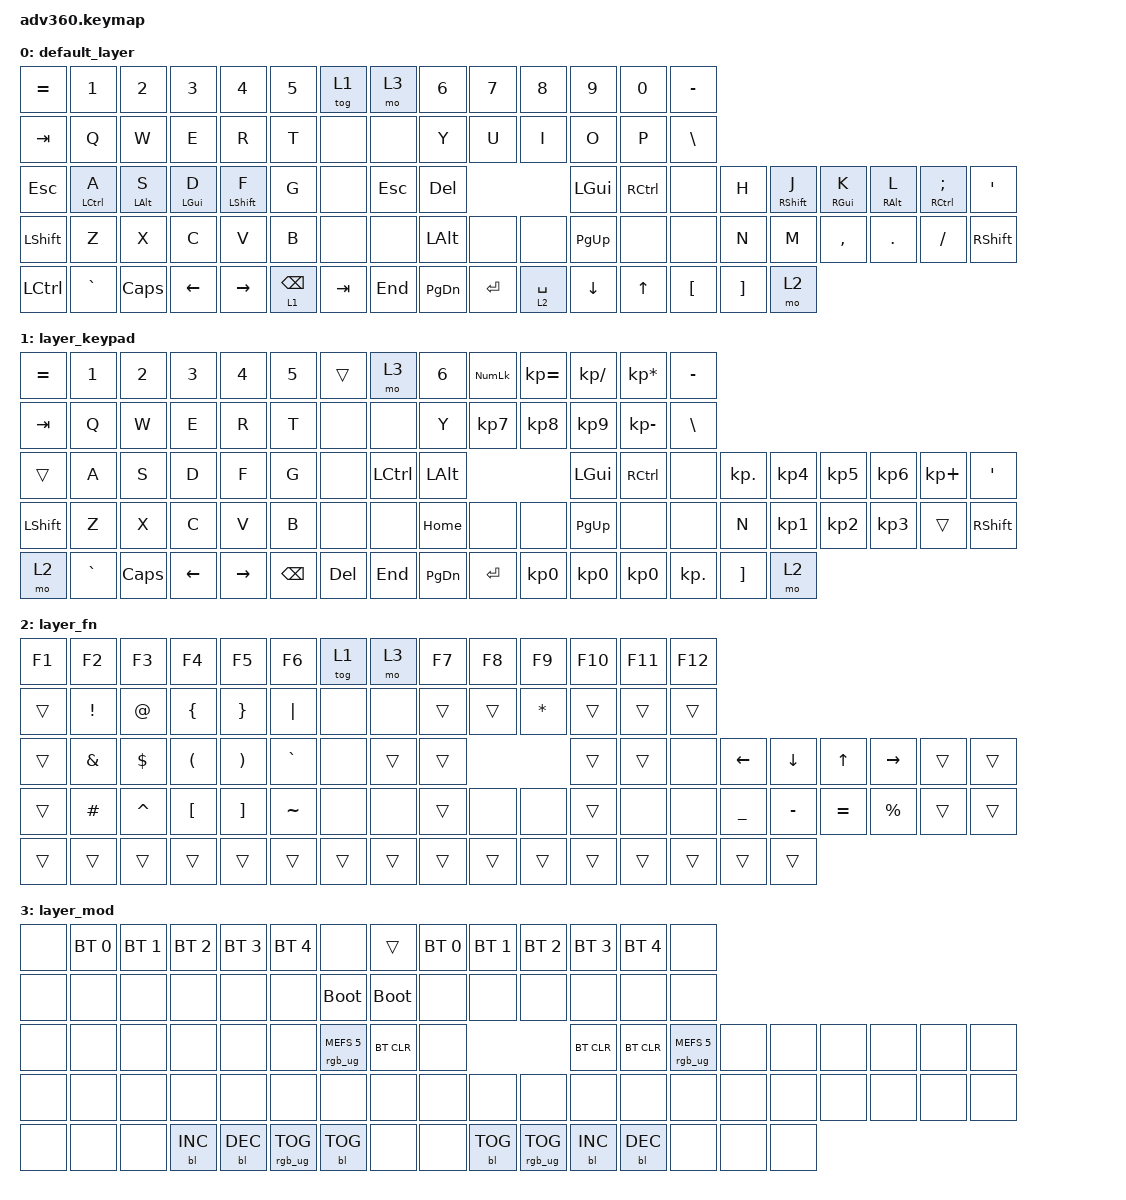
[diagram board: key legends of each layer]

/*
 * Copyright (c) 2020 The ZMK Contributors
 *
 * SPDX-License-Identifier: MIT
 */


/* THIS FILE WAS GENERATED!
 *
 * This file was generated automatically. You may or may not want to
 * edit it directly.
 */

#include <behaviors.dtsi>
#include <dt-bindings/zmk/keys.h>
#include <dt-bindings/zmk/bt.h>
#include <dt-bindings/zmk/rgb.h>
#include <dt-bindings/zmk/backlight.h>

&lt {
    quick_tap_ms = <200>;
};

&mt {
    quick_tap_ms = <200>;
    flavor = "tap-preferred";
};

/ {
  behaviors {
    #include "macros.dtsi"

    hm: homerow_mods {
        compatible = "zmk,behavior-hold-tap";
        label = "HOMEROW_MODS";
        #binding-cells = <2>;
        tapping-term-ms = <200>;
        quick_tap_ms = <175>;
        flavor = "tap-preferred";
        bindings = <&kp>, <&kp>;
    };
  };

    keymap {
        compatible = "zmk,keymap";


        default_layer {
            bindings = <
 &kp EQUAL     &kp N1    &kp N2    &kp N3     &kp N4         &kp N5              &tog 1       &mo 3        &kp N6     &kp N7     &kp N8     &kp N9     &kp N0  &kp MINUS
   &kp TAB      &kp Q     &kp W     &kp E      &kp R          &kp T               &none       &none         &kp Y      &kp U      &kp I      &kp O      &kp P   &kp BSLH
   &kp ESC      &mt LCTRL A     &mt LEFT_ALT S     &mt LGUI D      &mt LSHFT F          &kp G               &none  &kp ESCAPE    &kp DELETE                         &kp LGUI  &kp RCTRL      &none     &kp H   &mt RSHFT J      &mt RGUI K    &mt RIGHT_ALT L  &mt RCTRL SEMI    &kp SQT
 &kp LSHFT      &kp Z     &kp X     &kp C      &kp V          &kp B               &none       &none  &kp LEFT_ALT      &none      &none  &kp PG_UP      &none      &none     &kp N   &kp M  &kp COMMA  &kp DOT  &kp FSLH  &kp RSHFT
 &kp LCTRL  &kp GRAVE  &kp CAPS  &kp LEFT  &kp RIGHT  &lt 1 BACKSPACE            &kp TAB     &kp END     &kp PG_DN  &kp ENTER  &lt 2 SPACE   &kp DOWN     &kp UP   &kp LBKT  &kp RBKT   &mo 2
            >;
        };

        layer_keypad {
            bindings = <
 &kp EQUAL     &kp N1    &kp N2    &kp N3     &kp N4    &kp N5             &trans      &mo 3     &kp N6  &kp KP_NUM  &kp KP_EQUAL  &kp KP_DIVIDE  &kp KP_MULTIPLY   &kp MINUS
   &kp TAB      &kp Q     &kp W     &kp E      &kp R     &kp T              &none      &none      &kp Y   &kp KP_N7     &kp KP_N8      &kp KP_N9     &kp KP_MINUS    &kp BSLH
    &trans      &kp A     &kp S     &kp D      &kp F     &kp G              &none  &kp LCTRL   &kp LALT                                 &kp LGUI        &kp RCTRL       &none     &kp KP_DOT  &kp KP_N4  &kp KP_N5  &kp KP_N6   &kp KP_PLUS    &kp SQT
 &kp LSHFT      &kp Z     &kp X     &kp C      &kp V     &kp B              &none      &none   &kp HOME       &none         &none      &kp PG_UP            &none       &none     &kp N  &kp KP_N1  &kp KP_N2  &kp KP_N3  &trans  &kp RSHFT
     &mo 2  &kp GRAVE  &kp CAPS  &kp LEFT  &kp RIGHT  &kp BSPC            &kp DEL    &kp END  &kp PG_DN   &kp ENTER     &kp KP_N0      &kp KP_N0         &kp KP_N0      &kp KP_DOT  &kp RBKT      &mo 2
            >;
        };

        layer_fn {
            bindings = <
 &kp F1           &kp F2       &kp F3                &kp F4                 &kp F5     &kp F6            &tog 1   &mo 3  &kp F7  &kp F8        &kp F9  &kp F10  &kp F11  &kp F12
 &trans  &kp EXCLAMATION  &kp AT_SIGN        &kp LEFT_BRACE        &kp RIGHT_BRACE   &kp PIPE             &none   &none  &trans  &trans  &kp ASTERISK   &trans   &trans   &trans
 &trans    &kp AMPERSAND   &kp DOLLAR  &kp LEFT_PARENTHESIS  &kp RIGHT_PARENTHESIS  &kp GRAVE             &none  &trans  &trans                         &trans   &trans    &none  &kp LEFT_ARROW  &kp DOWN_ARROW  &kp UP_ARROW  &kp RIGHT_ARROW  &trans  &trans
 &trans        &kp POUND    &kp CARET      &kp LEFT_BRACKET      &kp RIGHT_BRACKET  &kp TILDE             &none   &none  &trans   &none         &none   &trans    &none    &none  &kp UNDERSCORE       &kp MINUS     &kp EQUAL      &kp PERCENT  &trans  &trans
 &trans           &trans       &trans                &trans                 &trans     &trans            &trans  &trans  &trans  &trans        &trans   &trans   &trans   &trans          &trans          &trans
            >;
        };

        layer_mod {
            bindings = <
  &none  &bt BT_SEL 0  &bt BT_SEL 1  &bt BT_SEL 2  &bt BT_SEL 3     &bt BT_SEL 4                             &none       &trans  &bt BT_SEL 0  &bt BT_SEL 1     &bt BT_SEL 2  &bt BT_SEL 3  &bt BT_SEL 4                   &none
  &none         &none         &none         &none         &none            &none                       &bootloader  &bootloader         &none         &none            &none         &none         &none                   &none
  &none         &none         &none         &none         &none            &none            &rgb_ug RGB_MEFS_CMD 5   &bt BT_CLR         &none                                   &bt BT_CLR    &bt BT_CLR  &rgb_ug RGB_MEFS_CMD 5   &none   &none   &none   &none   &none   &none
  &none         &none         &none         &none         &none            &none                             &none        &none         &none         &none            &none         &none         &none                   &none   &none   &none   &none   &none   &none   &none
  &none         &none         &none    &bl BL_INC    &bl BL_DEC  &rgb_ug RGB_TOG                        &bl BL_TOG        &none         &none    &bl BL_TOG  &rgb_ug RGB_TOG    &bl BL_INC    &bl BL_DEC                   &none   &none   &none
            >;
        };

    };
};
